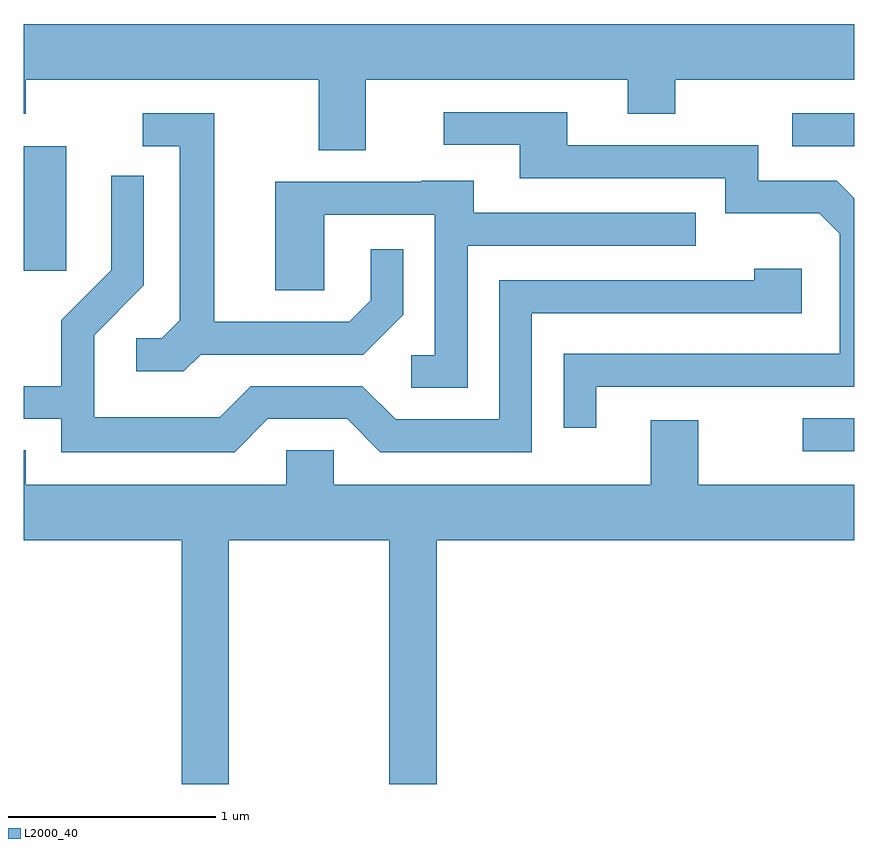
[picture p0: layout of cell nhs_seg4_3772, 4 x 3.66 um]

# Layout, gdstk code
import gdstk
lib = gdstk.Library(unit=1e-6, precision=1e-09)
def R(c, l, rs):  # rectangles x0, y0, x1, y1
    for r in rs: c.add(gdstk.rectangle(r[:2], r[2:], *l))
def P(c, l, *ps):  # polygons
    for p in ps: c.add(gdstk.Polygon(p, *l))
L2000_40 = (2000, 40)

nhs_seg4_3772 = lib.new_cell('nhs_seg4_3772')
R(nhs_seg4_3772, L2000_40, [(299.363,1319.586,299.611,1319.744), (295.611,1320.456,295.814,1321.054), (299.313,1321.056,299.611,1321.214)])
P(nhs_seg4_3772, L2000_40, [(297.259,1321.376),(298.521,1321.376),(298.521,1321.211),(298.749,1321.211),(298.749,1321.376),(299.611,1321.376),(299.611,1321.644),(295.611,1321.644),(295.611,1321.211),(295.619,1321.211),(295.619,1321.376),(297.031,1321.376),(297.031,1321.036),(297.259,1321.036)],
  [(298.369,1319.896),(299.611,1319.896),(299.611,1320.805),(299.527,1320.889),(299.149,1320.889),(299.149,1321.059),(298.229,1321.059),(298.229,1321.219),(297.633,1321.219),(297.633,1321.061),(298.001,1321.061),(298.001,1320.901),(298.991,1320.901),(298.991,1320.731),(299.444,1320.731),(299.541,1320.634),(299.541,1320.054),(298.211,1320.054),(298.211,1319.698),(298.369,1319.698)],
  [(296.462,1320.051),(297.247,1320.051),(297.439,1320.244),(297.439,1320.558),(297.281,1320.558),(297.281,1320.312),(297.179,1320.209),(296.529,1320.209),(296.529,1321.214),(296.183,1321.214),(296.183,1321.056),(296.361,1321.056),(296.361,1320.217),(296.274,1320.129),(296.153,1320.129),(296.153,1319.971),(296.382,1319.971)],
  [(296.787,1319.741),(297.169,1319.741),(297.329,1319.581),(298.059,1319.581),(298.059,1320.251),(299.359,1320.251),(299.359,1320.464),(299.131,1320.464),(299.131,1320.409),(297.901,1320.409),(297.901,1319.739),(297.402,1319.739),(297.242,1319.899),(296.704,1319.899),(296.554,1319.749),(295.949,1319.749),(295.949,1320.144),(296.189,1320.384),(296.189,1320.913),(296.031,1320.913),(296.031,1320.457),(295.791,1320.217),(295.791,1319.899),(295.611,1319.899),(295.611,1319.741),(295.791,1319.741),(295.791,1319.581),(296.627,1319.581)],
  [(297.749,1320.576),(298.848,1320.576),(298.848,1320.734),(297.779,1320.734),(297.779,1320.889),(297.525,1320.889),(297.525,1320.884),(296.821,1320.884),(296.821,1320.361),(297.059,1320.361),(297.059,1320.726),(297.591,1320.726),(297.591,1320.049),(297.478,1320.049),(297.478,1319.891),(297.749,1319.891)],
  [(296.599,1319.156),(297.371,1319.156),(297.371,1317.982),(297.599,1317.982),(297.599,1319.156),(299.611,1319.156),(299.611,1319.424),(298.859,1319.424),(298.859,1319.734),(298.631,1319.734),(298.631,1319.424),(297.104,1319.424),(297.104,1319.589),(296.876,1319.589),(296.876,1319.424),(295.619,1319.424),(295.619,1319.589),(295.611,1319.589),(295.611,1319.156),(296.371,1319.156),(296.371,1317.982),(296.599,1317.982)])

lib.write_gds('nhs_seg4_3772.gds')
